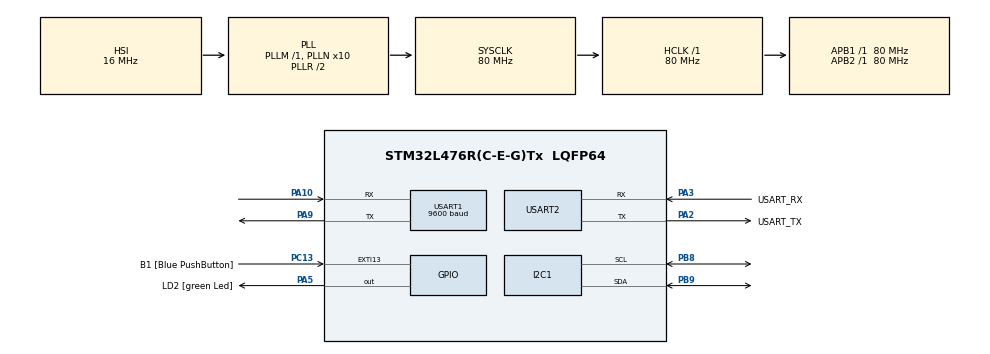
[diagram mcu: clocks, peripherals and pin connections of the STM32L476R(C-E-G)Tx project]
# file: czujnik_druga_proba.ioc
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I2C1.Timing=0x10D19CE4
Mcu.Family=STM32L4
Mcu.Name=STM32L476R(C-E-G)Tx
Mcu.Package=LQFP64
NVIC.PriorityGroup=NVIC_PRIORITYGROUP_4
PA10.Mode=Asynchronous
PA10.Signal=USART1_RX
PA13\ (JTMS-SWDIO).GPIO_Label=TMS
PA13\ (JTMS-SWDIO).Mode=Serial_Wire
PA13\ (JTMS-SWDIO).Signal=SYS_JTMS-SWDIO
PA14\ (JTCK-SWCLK).GPIO_Label=TCK
PA14\ (JTCK-SWCLK).Mode=Serial_Wire
PA14\ (JTCK-SWCLK).Signal=SYS_JTCK-SWCLK
PA2.GPIO_Label=USART_TX
PA2.GPIO_Mode=GPIO_MODE_AF_PP
PA2.GPIO_PuPd=GPIO_NOPULL
PA2.GPIO_Speed=GPIO_SPEED_FREQ_VERY_HIGH
PA2.Mode=Asynchronous
PA2.Signal=USART2_TX
PA3.GPIO_Label=USART_RX
PA3.GPIO_Mode=GPIO_MODE_AF_PP
PA3.GPIO_PuPd=GPIO_NOPULL
PA3.GPIO_Speed=GPIO_SPEED_FREQ_VERY_HIGH
PA3.Mode=Asynchronous
PA3.Signal=USART2_RX
PA5.GPIO_Label=LD2 [green Led]
PA5.GPIO_ModeDefaultOutputPP=GPIO_MODE_OUTPUT_PP
PA5.GPIO_PuPd=GPIO_NOPULL
PA5.GPIO_Speed=GPIO_SPEED_FREQ_LOW
PA5.Signal=GPIO_Output
PA9.Mode=Asynchronous
PA9.Signal=USART1_TX
PB3\ (JTDO-TRACESWO).GPIO_Label=SWO
PB3\ (JTDO-TRACESWO).Signal=SYS_JTDO-SWO
PB8.Mode=I2C
PB8.Signal=I2C1_SCL
PB9.Mode=I2C
PB9.Signal=I2C1_SDA
PC13.GPIO_Label=B1 [Blue PushButton]
PC13.GPIO_ModeDefaultEXTI=GPIO_MODE_IT_FALLING
PC13.GPIO_PuPd=GPIO_NOPULL
PC13.Signal=GPXTI13
PC14-OSC32_IN\ (PC14).Mode=LSE-External-Oscillator
PC14-OSC32_IN\ (PC14).Signal=RCC_OSC32_IN
PC15-OSC32_OUT\ (PC15).Mode=LSE-External-Oscillator
PC15-OSC32_OUT\ (PC15).Signal=RCC_OSC32_OUT
PH0-OSC_IN\ (PH0).Signal=RCC_OSC_IN
PH1-OSC_OUT\ (PH1).Signal=RCC_OSC_OUT
ProjectManager.HeapSize=0x200
ProjectManager.StackSize=0x400
ProjectManager.TargetToolchain=STM32CubeIDE
RCC.ADCFreq_Value=64000000
RCC.AHBFreq_Value=80000000
RCC.APB1Freq_Value=80000000
RCC.APB1TimFreq_Value=80000000
RCC.APB2Freq_Value=80000000
RCC.APB2TimFreq_Value=80000000
RCC.CortexFreq_Value=80000000
RCC.HCLKFreq_Value=80000000
RCC.HSE_VALUE=8000000
RCC.HSI_VALUE=16000000
RCC.MSI_VALUE=4000000
RCC.PLLN=10
RCC.PLLSourceVirtual=RCC_PLLSOURCE_HSI
RCC.PREFETCH_ENABLE=1
RCC.SYSCLKFreq_VALUE=80000000
RCC.SYSCLKSource=RCC_SYSCLKSOURCE_PLLCLK
RCC.USBFreq_Value=64000000
RCC.VCOOutputFreq_Value=160000000
USART1.BaudRate=9600
USART1.VirtualMode-Asynchronous=VM_ASYNC
USART2.VirtualMode-Asynchronous=VM_ASYNC
board=NUCLEO-L476RG

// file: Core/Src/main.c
/* USER CODE BEGIN Header */
/**
  ******************************************************************************
  * @file           : main.c
  * @brief          : Main program body
  ******************************************************************************
  * @attention
  *
  * Copyright (c) 2025 STMicroelectronics.
  * All rights reserved.
  *
  * This software is licensed under terms that can be found in the LICENSE file
  * in the root directory of this software component.
  * If no LICENSE file comes with this software, it is provided AS-IS.
  *
  ******************************************************************************
  */
/* USER CODE END Header */
#include "main.h"

/* USER CODE BEGIN Includes */
#include "BME280_STM32.h"
#include <stdio.h>
#include <string.h>
#include "ssd1306.h"
#include "ssd1306_fonts.h"
/* USER CODE END Includes */

I2C_HandleTypeDef hi2c1;

UART_HandleTypeDef huart1;
UART_HandleTypeDef huart2;

/* USER CODE BEGIN PV */
float Temperature, Pressure, Humidity;
char uart_buf[100];
char uart_scan_buf[64];
int devices_found = 0;
uint8_t y_poz = 0;
char oledbuff[50];
char temp_buf[30];
char hum_buf[30];
char pres_buf[30];
/* USER CODE END PV */

void SystemClock_Config(void);
static void MX_GPIO_Init(void);
static void MX_USART2_UART_Init(void);
static void MX_I2C1_Init(void);
static void MX_USART1_UART_Init(void);

int main(void)
{

  /* USER CODE BEGIN 1 */
	uint32_t bluetooth_counter = 0;
  /* USER CODE END 1 */

  /* MCU Configuration--------------------------------------------------------*/

  /* Reset of all peripherals, Initializes the Flash interface and the Systick. */
  HAL_Init();

  /* Configure the system clock */
  SystemClock_Config();

  /* Initialize all configured peripherals */
  MX_GPIO_Init();
  MX_USART2_UART_Init();
  MX_I2C1_Init();
  MX_USART1_UART_Init();
  /* USER CODE BEGIN 2 */
  BME280_Config(OSRS_1, OSRS_1, OSRS_1, MODE_NORMAL, T_SB_1000, IIR_16);
  ssd1306_Init();

  /* USER CODE END 2 */

  /* Infinite loop */
  while (1)
  {

    /* USER CODE BEGIN 3 */
	  	 BME280_Measure();
	  	 sprintf(temp_buf,"Temp: %.2f C",Temperature);
	  	 sprintf(hum_buf,"Hum: %.2f %%",Humidity);
	  	 sprintf(pres_buf,"Pres: %.2f HPa",Pressure/100);
	  	 ssd1306_Fill(Black);
	  	 ssd1306_SetCursor(0, 0);
	  	 ssd1306_WriteString(temp_buf, Font_7x10, White);
	  	 ssd1306_SetCursor(0, 20);
	  	 ssd1306_WriteString(hum_buf, Font_7x10, White);
	  	 ssd1306_SetCursor(0, 40);
	  	 ssd1306_WriteString(pres_buf, Font_7x10, White);
	  	 ssd1306_UpdateScreen();
	  	 bluetooth_counter++;
	  	 if(bluetooth_counter==30){
	  		 HAL_UART_Transmit(&huart1, (const uint8_t*)temp_buf, strlen(temp_buf), 100);
	  		 HAL_UART_Transmit(&huart1, (const uint8_t*)hum_buf, strlen(hum_buf), 100);
	  		 HAL_UART_Transmit(&huart1, (const uint8_t*)pres_buf, strlen(pres_buf), 100);
	  		 bluetooth_counter=0;
	  	 }
	  	 HAL_Delay(300);

  }
  /* USER CODE END 3 */
}

void SystemClock_Config(void)
{
  RCC_OscInitTypeDef RCC_OscInitStruct = {0};
  RCC_ClkInitTypeDef RCC_ClkInitStruct = {0};

  /** Configure the main internal regulator output voltage
  */
  if (HAL_PWREx_ControlVoltageScaling(PWR_REGULATOR_VOLTAGE_SCALE1) != HAL_OK)
  {
    Error_Handler();
  }

  /** Initializes the RCC Oscillators according to the specified parameters
  * in the RCC_OscInitTypeDef structure.
  */
  RCC_OscInitStruct.OscillatorType = RCC_OSCILLATORTYPE_HSI;
  RCC_OscInitStruct.HSIState = RCC_HSI_ON;
  RCC_OscInitStruct.HSICalibrationValue = RCC_HSICALIBRATION_DEFAULT;
  RCC_OscInitStruct.PLL.PLLState = RCC_PLL_ON;
  RCC_OscInitStruct.PLL.PLLSource = RCC_PLLSOURCE_HSI;
  RCC_OscInitStruct.PLL.PLLM = 1;
  RCC_OscInitStruct.PLL.PLLN = 10;
  RCC_OscInitStruct.PLL.PLLP = RCC_PLLP_DIV7;
  RCC_OscInitStruct.PLL.PLLQ = RCC_PLLQ_DIV2;
  RCC_OscInitStruct.PLL.PLLR = RCC_PLLR_DIV2;
  if (HAL_RCC_OscConfig(&RCC_OscInitStruct) != HAL_OK)
  {
    Error_Handler();
  }

  /** Initializes the CPU, AHB and APB buses clocks
  */
  RCC_ClkInitStruct.ClockType = RCC_CLOCKTYPE_HCLK|RCC_CLOCKTYPE_SYSCLK
                              |RCC_CLOCKTYPE_PCLK1|RCC_CLOCKTYPE_PCLK2;
  RCC_ClkInitStruct.SYSCLKSource = RCC_SYSCLKSOURCE_PLLCLK;
  RCC_ClkInitStruct.AHBCLKDivider = RCC_SYSCLK_DIV1;
  RCC_ClkInitStruct.APB1CLKDivider = RCC_HCLK_DIV1;
  RCC_ClkInitStruct.APB2CLKDivider = RCC_HCLK_DIV1;

  if (HAL_RCC_ClockConfig(&RCC_ClkInitStruct, FLASH_LATENCY_4) != HAL_OK)
  {
    Error_Handler();
  }
}

static void MX_I2C1_Init(void)
{

  hi2c1.Instance = I2C1;
  hi2c1.Init.Timing = 0x10D19CE4;
  hi2c1.Init.OwnAddress1 = 0;
  hi2c1.Init.AddressingMode = I2C_ADDRESSINGMODE_7BIT;
  hi2c1.Init.DualAddressMode = I2C_DUALADDRESS_DISABLE;
  hi2c1.Init.OwnAddress2 = 0;
  hi2c1.Init.OwnAddress2Masks = I2C_OA2_NOMASK;
  hi2c1.Init.GeneralCallMode = I2C_GENERALCALL_DISABLE;
  hi2c1.Init.NoStretchMode = I2C_NOSTRETCH_DISABLE;
  if (HAL_I2C_Init(&hi2c1) != HAL_OK)
  {
    Error_Handler();
  }

  /** Configure Analogue filter
  */
  if (HAL_I2CEx_ConfigAnalogFilter(&hi2c1, I2C_ANALOGFILTER_ENABLE) != HAL_OK)
  {
    Error_Handler();
  }

  /** Configure Digital filter
  */
  if (HAL_I2CEx_ConfigDigitalFilter(&hi2c1, 0) != HAL_OK)
  {
    Error_Handler();
  }

}

static void MX_USART1_UART_Init(void)
{

  huart1.Instance = USART1;
  huart1.Init.BaudRate = 9600;
  huart1.Init.WordLength = UART_WORDLENGTH_8B;
  huart1.Init.StopBits = UART_STOPBITS_1;
  huart1.Init.Parity = UART_PARITY_NONE;
  huart1.Init.Mode = UART_MODE_TX_RX;
  huart1.Init.HwFlowCtl = UART_HWCONTROL_NONE;
  huart1.Init.OverSampling = UART_OVERSAMPLING_16;
  huart1.Init.OneBitSampling = UART_ONE_BIT_SAMPLE_DISABLE;
  huart1.AdvancedInit.AdvFeatureInit = UART_ADVFEATURE_NO_INIT;
  if (HAL_UART_Init(&huart1) != HAL_OK)
  {
    Error_Handler();
  }

}

static void MX_USART2_UART_Init(void)
{

  huart2.Instance = USART2;
  huart2.Init.BaudRate = 115200;
  huart2.Init.WordLength = UART_WORDLENGTH_8B;
  huart2.Init.StopBits = UART_STOPBITS_1;
  huart2.Init.Parity = UART_PARITY_NONE;
  huart2.Init.Mode = UART_MODE_TX_RX;
  huart2.Init.HwFlowCtl = UART_HWCONTROL_NONE;
  huart2.Init.OverSampling = UART_OVERSAMPLING_16;
  huart2.Init.OneBitSampling = UART_ONE_BIT_SAMPLE_DISABLE;
  huart2.AdvancedInit.AdvFeatureInit = UART_ADVFEATURE_NO_INIT;
  if (HAL_UART_Init(&huart2) != HAL_OK)
  {
    Error_Handler();
  }

}

static void MX_GPIO_Init(void)
{
  GPIO_InitTypeDef GPIO_InitStruct = {0};

  /* GPIO Ports Clock Enable */
  __HAL_RCC_GPIOC_CLK_ENABLE();
  __HAL_RCC_GPIOH_CLK_ENABLE();
  __HAL_RCC_GPIOA_CLK_ENABLE();
  __HAL_RCC_GPIOB_CLK_ENABLE();

  /*Configure GPIO pin Output Level */
  HAL_GPIO_WritePin(LD2_GPIO_Port, LD2_Pin, GPIO_PIN_RESET);

  /*Configure GPIO pin : B1_Pin */
  GPIO_InitStruct.Pin = B1_Pin;
  GPIO_InitStruct.Mode = GPIO_MODE_IT_FALLING;
  GPIO_InitStruct.Pull = GPIO_NOPULL;
  HAL_GPIO_Init(B1_GPIO_Port, &GPIO_InitStruct);

  /*Configure GPIO pin : LD2_Pin */
  GPIO_InitStruct.Pin = LD2_Pin;
  GPIO_InitStruct.Mode = GPIO_MODE_OUTPUT_PP;
  GPIO_InitStruct.Pull = GPIO_NOPULL;
  GPIO_InitStruct.Speed = GPIO_SPEED_FREQ_LOW;
  HAL_GPIO_Init(LD2_GPIO_Port, &GPIO_InitStruct);

}

void Error_Handler(void)
{
  __disable_irq();
  while (1)
  {
  }
}
